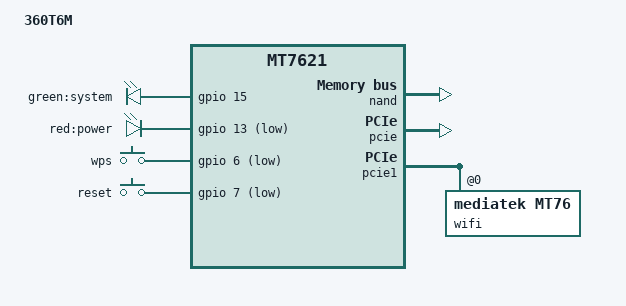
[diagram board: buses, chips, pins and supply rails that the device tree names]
// SPDX-License-Identifier: GPL-2.0-or-later OR MIT

#include "mt7621.dtsi"
#include <dt-bindings/gpio/gpio.h>
#include <dt-bindings/input/input.h>

/ {
	compatible = "360,360t6m", "mediatek,mt7621-soc";
	model = "360T6M";

	aliases {
		label-mac-device = &gmac0;

		led-boot = &led_system;
		led-failsafe = &led_system;
		led-running = &led_system;
		led-upgrade = &led_system;
	};

	chosen {
		bootargs = "console=ttyS0,115200";
	};

	leds {
		compatible = "gpio-leds";

		led_system: system {
			label = "green:system";
			gpios = <&gpio 15 GPIO_ACTIVE_HIGH>;
		};

		power {
			label = "red:power";
			gpios = <&gpio 13 GPIO_ACTIVE_LOW>;
		};
	};

	keys {
		compatible = "gpio-keys";

		wps {
			label = "wps";
			gpios = <&gpio 6 GPIO_ACTIVE_LOW>;
			linux,code = <KEY_WPS_BUTTON>;
		};

		reset {
			label = "reset";
			gpios = <&gpio 7 GPIO_ACTIVE_LOW>;
			linux,code = <KEY_RESTART>;
		};
	};
};

&nand {
	status = "okay";

	partitions {
		compatible = "fixed-partitions";
		#address-cells = <1>;
		#size-cells = <1>;

		partition@0 {
			label = "Bootloader";
			reg = <0x000000 0x080000>;
			read-only;
		};

		partition@80000 {
			label = "Nvram";
			reg = <0x080000 0x040000>;
			read-only;
		};

		partition@c0000 {
			label = "Bdata";
			reg = <0x0c0000 0x040000>;
			read-only;
		};

		factory: partition@100000 {
			label = "Factory";
			reg = <0x100000 0x080000>;
			read-only;

			compatible = "nvmem-cells";
			#address-cells = <1>;
			#size-cells = <1>;

			macaddr_factory_0: macaddr@e000 {
				reg = <0xe000 0x06>;
			};

			macaddr_factory_1: macaddr@e006 {
				reg = <0xe006 0x06>;
			};
		};

		partition@180000 {
			label = "crash";
			reg = <0x180000 0x040000>;
			read-only;
		};

		partition@1c0000 {
			label = "crash_log";
			reg = <0x1c0000 0x040000>;
			read-only;
		};

		partition@200000 {
			label = "kernel";
			reg = <0x200000 0x400000>;
		};

		partition@600000 {
			label = "ubi";
			reg = <0x600000 0x7a00000>;
		};
	};
};

&gmac0 {
	nvmem-cells = <&macaddr_factory_0>;
	nvmem-cell-names = "mac-address";
};

&gmac1 {
	nvmem-cells = <&macaddr_factory_1>;
	nvmem-cell-names = "mac-address";
};

&switch0 {
	ports {
		port@0 {
			status = "okay";
			label = "lan3";
		};

		port@1 {
			status = "okay";
			label = "lan2";
		};

		port@2 {
			status = "okay";
			label = "lan1";
		};

		port@3 {
			status = "okay";
			label = "wan";
		};

		port@4 {
			status = "disabled";
			label = "lan4";
		};
	};
};

&pcie {
	status = "okay";
};

&pcie1 {
	wifi@0,0 {
		compatible = "mediatek,mt76";
		reg = <0x0000 0 0 0 0>;
		mediatek,mtd-eeprom = <&factory 0x0>;
	};
};

&state_default {
	gpio {
		groups = "jtag", "wdt", "uart3";
		function = "gpio";
	};
};
